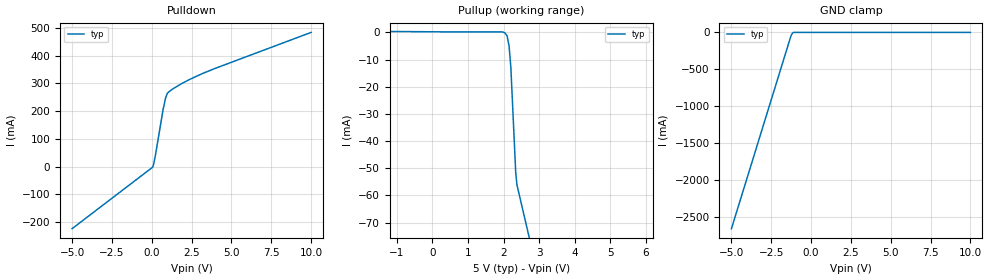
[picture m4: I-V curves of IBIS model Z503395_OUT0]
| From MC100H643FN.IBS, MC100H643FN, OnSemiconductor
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| (C) COPYRIGHT 1993-2000
| MENTOR GRAPHICS CORPORATION
| ICX STANDARD LIBRARY, ICX PROJECT MODELING,
| ICX CUSTOM MODELING, ICX VENDOR MODEL
| ALL RIGHTS RESERVED.
| THE FOLLOWING ARE TRADEMARKS OR SERVICE MARKS OF
| MENTOR GRAPHICS CORPORATION:ICX (R), ICX STANDARD
| LIBRARY(R), ICX PROJECT MODELING(R), ICX CUSTOM
| MODELING(R), qualityIBIS(TM), MODELVIEWER(TM),
| AND MODELEDITOR(TM)
| ALL COPIES OF SOFTWARE, INCLUDING BUT NOT LIMITED TO
| ANY MODIFICATIONS, ENHANCEMENTS OR DERIVATIVE WORKS,
| MUST CONTAIN ALL MENTOR GRAPHICS CORPORATION'S
| NOTICES AND LEGENDS, INCLUDING THOSE EMBEDDED IN
| SOFTWARE AND THOSE AFFIXED TO SOFTWARE MEDIUM
| AND CONTAINER, AS RECEIVED FROM MENTOR GRAPHICS
| CORPORATION.
| Model Application Version 1.89 2/18/99.
[Model] Z503395_OUT0
Model_type Output
Vref=0.000V
Rref=500.0ohms
Cref=50.00pF
Vmeas=1.500V
C_comp 8.000pF NA NA
| variable typ   min   max
[Voltage Range] 5.000V NA NA
[POWER Clamp Reference] 5.000V NA NA
[Pullup Reference] 5.000V NA NA
[Pulldown Reference] 0.000V NA NA
[GND Clamp Reference] 0.000V NA NA
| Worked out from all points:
|   slope of the pulldown table from 0 to 0.75 V, typ, clamps not added: 3.4 ohm
|   slope of the pullup table from 0 to 0.75 V, typ, clamps not added: 18.6 kohm
|   GND clamp passes 1 mA (typ) near -1.12 V on its own axis
[GND Clamp]
-5V       -2.654A    NA         NA
-1.27V    -51.37mA   NA         NA
-1.216V   -25.46mA   NA         NA
-1.161V   -8.692mA   NA         NA
-1.113V   -475.3uA   NA         NA
-1.039V   0A         NA         NA
10V       0A         NA         NA
[Pulldown]
-5V       -223.2mA   NA         NA
30.36mV   -2.864mA   NA         NA
121mV     9.68mA     NA         NA
239.3mV   44.62mA    NA         NA
717.8mV   208.2mA    NA         NA
874mV     249.1mA    NA         NA
977.4mV   264mA      NA         NA
1.07V     269.9mA    NA         NA
1.875V    299.4mA    NA         NA
3.214V    336.5mA    NA         NA
10V       484mA      NA         NA
[Pullup]
-5V       707.8uA    NA         NA
429mV     198.4uA    NA         NA
1.938V    198.4uA    NA         NA
1.982V    136.6uA    NA         NA
2.04V     -202.7uA   NA         NA
2.099V    -1.208mA   NA         NA
2.157V    -5.01mA    NA         NA
2.207V    -12.93mA   NA         NA
2.344V    -51.62mA   NA         NA
2.378V    -56.12mA   NA         NA
10V       -483.5mA   NA         NA
[POWER Clamp]
-5V       0A         NA         NA
10V       0A         NA         NA
[Ramp]
| variable typ min max
dV/dt_r 1.666/1.004n NA NA
dV/dt_f 1.666/936.3p NA NA
R_load = 500.0Ohms
